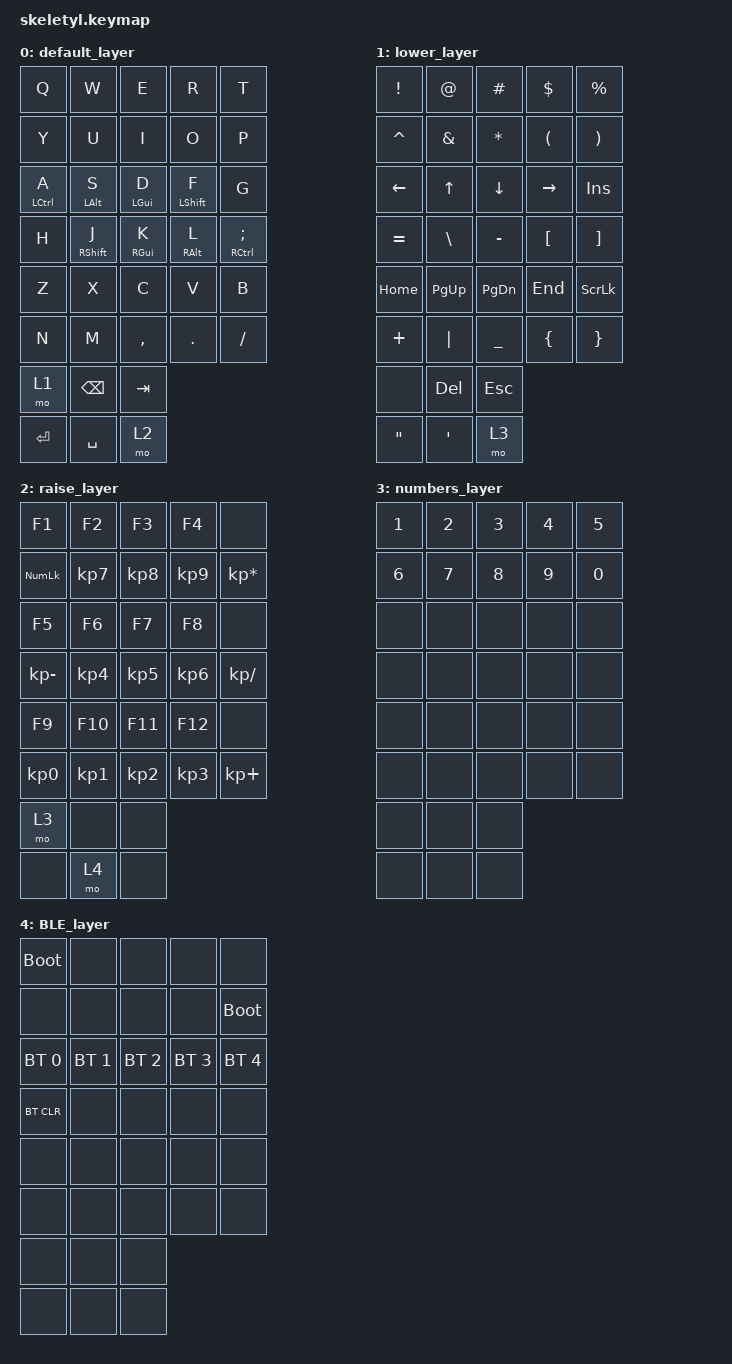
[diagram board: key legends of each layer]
#include <behaviors.dtsi>
#include <dt-bindings/zmk/keys.h>
#include <dt-bindings/zmk/bt.h>

/ {
    behaviors {
        hm: homerow_mods {
            compatible = "zmk,behavior-hold-tap";
            label = "HOMEROW_MODS";
            #binding-cells = <2>;
            flavor = "balanced";
            tapping-term-ms = <200>;
            quick-tap-ms = <125>;
            bindings = <&kp>, <&kp>;
        };
    };

    keymap {
        compatible = "zmk,keymap";

        // Layer 0: QWERTY + home-row mods
        default_layer {
            bindings = <
                &kp Q      &kp W       &kp E       &kp R       &kp T
                &kp Y      &kp U       &kp I       &kp O       &kp P

                &hm LCTRL A &hm LALT S  &hm LGUI D  &hm LSHFT F &kp G
                &kp H       &hm RSHFT J &hm RGUI K  &hm RALT L &hm RCTRL SEMI

                &kp Z       &kp X       &kp C       &kp V   &kp B
                &kp N       &kp M       &kp COMMA   &kp DOT &kp FSLH

                &mo 1       &kp BSPC    &kp TAB
                &kp RET     &kp SPC     &mo 2
            >;
        };

        // Layer 1: Lower - symbols and navigation
        lower_layer {
            bindings = <
                &kp EXCL    &kp AT      &kp HASH    &kp DLLR    &kp PRCNT
                &kp CARET   &kp AMPS    &kp ASTRK   &kp LPAR    &kp RPAR

                &kp LEFT    &kp UP      &kp DOWN    &kp RIGHT &kp INS
                &kp EQUAL  &kp BSLH    &kp MINUS   &kp LBKT    &kp RBKT

                &kp HOME    &kp PG_UP   &kp PG_DN   &kp END     &kp SLCK
                &kp PLUS   &kp PIPE    &kp UNDER   &kp LBRC    &kp RBRC

                &none     &kp DEL       &kp ESC
                &kp DQT   &kp SQT      &mo 3
            >;
        };

        // Layer 2: Raise - function keys and numpad
        raise_layer {
            bindings = <
                &kp F1      &kp F2      &kp F3      &kp F4  &none
                &kp KP_NLCK &kp KP_N7   &kp KP_N8   &kp KP_N9   &kp KP_MULTIPLY

                &kp F5      &kp F6      &kp F7      &kp F8  &none
                &kp KP_MINUS  &kp KP_N4   &kp KP_N5   &kp KP_N6   &kp KP_DIVIDE

                &kp F9      &kp F10     &kp F11     &kp F12 &none
                &kp KP_N0   &kp KP_N1   &kp KP_N2   &kp KP_N3   &kp KP_PLUS

                &mo 3     &none      &none
                &none     &mo 4       &none
            >;
        };

        // Layer 3: Numbers
        numbers_layer {
            bindings = <
                &kp N1     &kp N2      &kp N3      &kp N4      &kp N5
                &kp N6     &kp N7      &kp N8      &kp N9      &kp N0

                &none      &none       &none       &none       &none
                &none      &none       &none       &none       &none

                &none      &none       &none       &none       &none
                &none      &none       &none       &none       &none

                &none      &none       &none
                &none      &none       &none
            >;
        };

        // Layer 4: Bluetooth and firmware tools
        BLE_layer {
            bindings = <
                &bootloader &none    &none       &none       &none
                &none       &none    &none       &none       &bootloader

                &bt BT_SEL 0    &bt BT_SEL 1    &bt BT_SEL 2    &bt BT_SEL 3    &bt BT_SEL 4
                &bt BT_CLR      &none           &none           &none           &none

                &none       &none       &none       &none       &none
                &none       &none       &none       &none       &none

                &none       &none       &none
                &none       &none       &none
            >;
        };
    };
};
